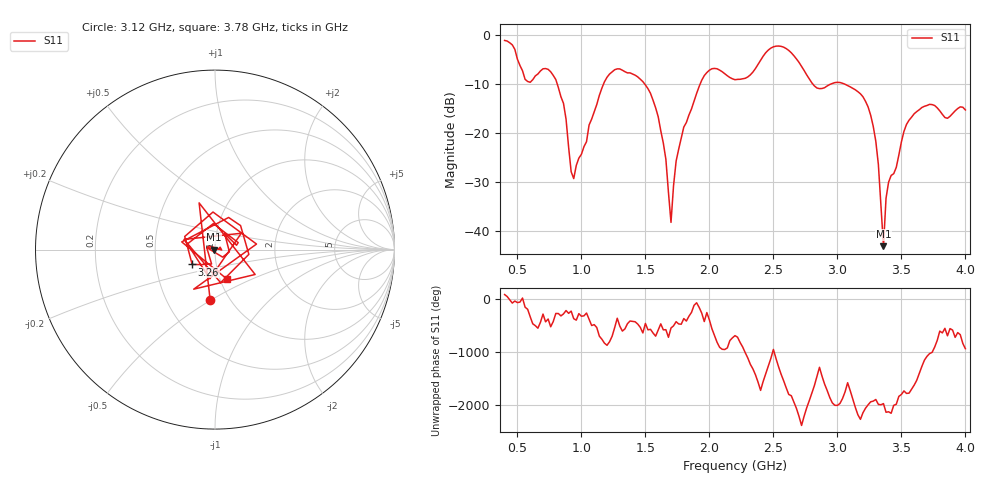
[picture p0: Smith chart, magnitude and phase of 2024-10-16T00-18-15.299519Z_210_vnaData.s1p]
! Created with skrf (http://scikit-rf.org).
# Hz S RI R 50.0
!freq ReS11 ImS11
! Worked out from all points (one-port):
!   181 points, 400 MHz to 4 GHz, reference 50 ohm
!   lowest |S11| = -43.0 dB at 3.36 GHz (marker M1), VSWR 1.01, Z = 49.3 + j0.0112 ohm
!   |S11| at or under -10 dB: 810.6 MHz to 1.174 GHz (363.1 MHz wide, 36.6 % of centre); 1.493 GHz to 1.928 GHz (435.3 MHz wide, 25.4 % of centre); 3.051 GHz to end of sweep (the widest 3 of 4)
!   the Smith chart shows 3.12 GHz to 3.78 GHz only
!   S11 on the Smith chart (normalised r, x): 3.12 GHz: 0.81, -0.50; 3.26 GHz: 0.76, -0.13; 3.78 GHz: 1.08, -0.37
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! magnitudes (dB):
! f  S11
! 400 MHz  -1.2
! 580 MHz  -9.5
! 760 MHz  -7.6
! 860 MHz  -14.0
! 940 MHz  -29.3
! 1.18 GHz  -9.6
! 1.3 GHz  -7.0
! 1.48 GHz  -9.6
! 1.58 GHz  -14.9
! 1.66 GHz  -25.4
! 1.7 GHz  -38.2
! 1.72 GHz  -30.7
! 1.76 GHz  -23.3
! 1.96 GHz  -8.3
! 2.2 GHz  -9.2
! 2.5 GHz  -2.5
! 2.66 GHz  -4.3
! 2.84 GHz  -10.8
! 3.1 GHz  -10.6
! 3.12 GHz  -10.9
! 3.26 GHz  -16.4
! 3.32 GHz  -26.4
! 3.36 GHz  -43.0
! 3.38 GHz  -33.3
! 3.4 GHz  -30.0
! 3.56 GHz  -17.4
! 3.78 GHz  -14.9
! 4 GHz  -15.3
